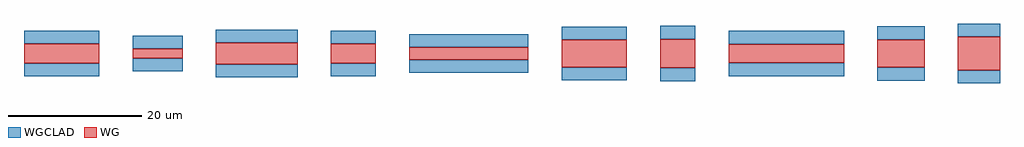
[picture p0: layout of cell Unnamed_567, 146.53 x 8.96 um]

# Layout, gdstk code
import gdstk
lib = gdstk.Library(unit=1e-6, precision=1e-09)
def R(c, l, rs):  # rectangles x0, y0, x1, y1
    for r in rs: c.add(gdstk.rectangle(r[:2], r[2:], *l))
WG = (1, 0)
WGCLAD = (111, 0)

straight_w2774_l17337_lw = lib.new_cell('straight_W2774_L17337_LWG_EWGSTD')
R(straight_w2774_l17337_lw, WG, [(0,-1.387,17.337,1.387)])
R(straight_w2774_l17337_lw, WGCLAD, [(0,-3.387,17.337,-1.387), (0,1.387,17.337,3.387)])

straight_w4288_l5270_lwg = lib.new_cell('straight_W4288_L5270_LWG_EWGSTD')
R(straight_w4288_l5270_lwg, WG, [(0,-2.144,5.27,2.144)])
R(straight_w4288_l5270_lwg, WGCLAD, [(0,-4.144,5.27,-2.144), (0,2.144,5.27,4.144)])

straight_w4964_l6309_lwg = lib.new_cell('straight_W4964_L6309_LWG_EWGSTD')
R(straight_w4964_l6309_lwg, WG, [(0,-2.482,6.309,2.482)])
R(straight_w4964_l6309_lwg, WGCLAD, [(0,-4.482,6.309,-2.482), (0,2.482,6.309,4.482)])

straight_w4064_l9814_lwg = lib.new_cell('straight_W4064_L9814_LWG_EWGSTD')
R(straight_w4064_l9814_lwg, WG, [(0,-2.032,9.814,2.032)])
R(straight_w4064_l9814_lwg, WGCLAD, [(0,-4.032,9.814,-2.032), (0,2.032,9.814,4.032)])

straight_w4142_l7101_lwg = lib.new_cell('straight_W4142_L7101_LWG_EWGSTD')
R(straight_w4142_l7101_lwg, WG, [(0,-2.071,7.101,2.071)])
R(straight_w4142_l7101_lwg, WGCLAD, [(0,-4.071,7.101,-2.071), (0,2.071,7.101,4.071)])

straight_w1834_l17861_lw = lib.new_cell('straight_W1834_L17861_LWG_EWGSTD')
R(straight_w1834_l17861_lw, WG, [(0,-0.917,17.861,0.917)])
R(straight_w1834_l17861_lw, WGCLAD, [(0,-2.917,17.861,-0.917), (0,0.917,17.861,2.917)])

straight_w2874_l6765_lwg = lib.new_cell('straight_W2874_L6765_LWG_EWGSTD')
R(straight_w2874_l6765_lwg, WG, [(0,-1.437,6.765,1.437)])
R(straight_w2874_l6765_lwg, WGCLAD, [(0,-3.437,6.765,-1.437), (0,1.437,6.765,3.437)])

straight_w3174_l12273_lw = lib.new_cell('straight_W3174_L12273_LWG_EWGSTD')
R(straight_w3174_l12273_lw, WG, [(0,-1.587,12.273,1.587)])
R(straight_w3174_l12273_lw, WGCLAD, [(0,-3.587,12.273,-1.587), (0,1.587,12.273,3.587)])

straight_w1356_l7496_lwg = lib.new_cell('straight_W1356_L7496_LWG_EWGSTD')
R(straight_w1356_l7496_lwg, WG, [(0,-0.678,7.496,0.678)])
R(straight_w1356_l7496_lwg, WGCLAD, [(0,-2.678,7.496,-0.678), (0,0.678,7.496,2.678)])

straight_w2860_l11300_lw = lib.new_cell('straight_W2860_L11300_LWG_EWGSTD')
R(straight_w2860_l11300_lw, WG, [(0,-1.43,11.3,1.43)])
R(straight_w2860_l11300_lw, WGCLAD, [(0,-3.43,11.3,-1.43), (0,1.43,11.3,3.43)])

unnamed_567 = lib.new_cell('Unnamed_567')
unnamed_567.add(gdstk.Reference(straight_w2774_l17337_lw, (105.779,9.482)))
unnamed_567.add(gdstk.Reference(straight_w4288_l5270_lwg, (95.509,9.482)))
unnamed_567.add(gdstk.Reference(straight_w4964_l6309_lwg, (140.217,9.482)))
unnamed_567.add(gdstk.Reference(straight_w4064_l9814_lwg, (80.695,9.482)))
unnamed_567.add(gdstk.Reference(straight_w4142_l7101_lwg, (128.116,9.482)))
unnamed_567.add(gdstk.Reference(straight_w1834_l17861_lw, (57.834,9.482)))
unnamed_567.add(gdstk.Reference(straight_w2874_l6765_lwg, (46.069,9.482)))
unnamed_567.add(gdstk.Reference(straight_w3174_l12273_lw, (28.796,9.482)))
unnamed_567.add(gdstk.Reference(straight_w1356_l7496_lwg, (16.3,9.482)))
unnamed_567.add(gdstk.Reference(straight_w2860_l11300_lw, (0,9.482)))

lib.write_gds('Unnamed_567.gds')
